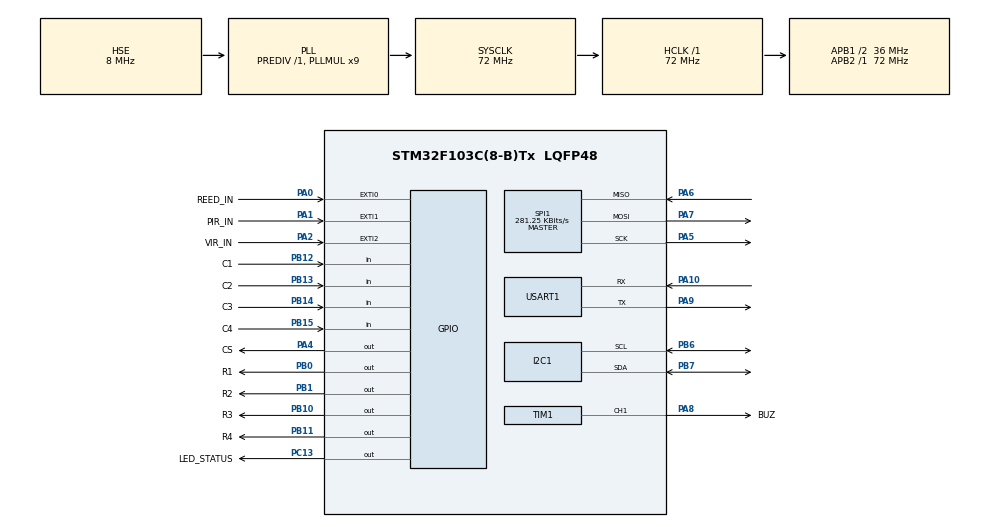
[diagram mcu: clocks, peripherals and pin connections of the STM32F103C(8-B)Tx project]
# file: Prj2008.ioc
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Mcu.Family=STM32F1
Mcu.Name=STM32F103C(8-B)Tx
Mcu.Package=LQFP48
NVIC.EXTI0_IRQn=true\:5\:0\:true\:false\:true\:true\:true\:true
NVIC.EXTI1_IRQn=true\:5\:0\:true\:false\:true\:true\:true\:true
NVIC.EXTI2_IRQn=true\:5\:0\:true\:false\:true\:true\:true\:true
NVIC.PriorityGroup=NVIC_PRIORITYGROUP_4
PA0-WKUP.GPIO_Label=REED_IN
PA0-WKUP.GPIO_PuPd=GPIO_PULLUP
PA0-WKUP.GPIO_ModeDefaultEXTI=GPIO_MODE_IT_RISING_FALLING
PA0-WKUP.Signal=GPXTI0
PA1.GPIO_Label=PIR_IN
PA1.GPIO_ModeDefaultEXTI=GPIO_MODE_IT_RISING
PA1.GPIO_PuPd=GPIO_PULLDOWN
PA1.Signal=GPXTI1
PA10.Mode=Asynchronous
PA10.Signal=USART1_RX
PA13.Mode=Serial_Wire
PA13.Signal=SYS_JTMS-SWDIO
PA14.Mode=Serial_Wire
PA14.Signal=SYS_JTCK-SWCLK
PA2.GPIO_Label=VIR_IN
PA2.GPIO_ModeDefaultEXTI=GPIO_MODE_IT_FALLING
PA2.GPIO_PuPd=GPIO_PULLUP
PA2.Signal=GPXTI2
PA4.GPIO_Label=CS
PA4.PinState=GPIO_PIN_SET
PA4.Signal=GPIO_Output
PA5.Mode=Full_Duplex_Master
PA5.Signal=SPI1_SCK
PA6.Mode=Full_Duplex_Master
PA6.Signal=SPI1_MISO
PA7.Mode=Full_Duplex_Master
PA7.Signal=SPI1_MOSI
PA8.GPIO_Label=BUZ
PA8.Signal=S_TIM1_CH1
PA9.Mode=Asynchronous
PA9.Signal=USART1_TX
PB0.GPIO_Label=R1
PB0.Signal=GPIO_Output
PB1.GPIO_Label=R2
PB1.Signal=GPIO_Output
PB10.GPIO_Label=R3
PB10.Signal=GPIO_Output
PB11.GPIO_Label=R4
PB11.Signal=GPIO_Output
PB12.GPIO_Label=C1
PB12.GPIO_PuPd=GPIO_PULLUP
PB12.Signal=GPIO_Input
PB13.GPIO_Label=C2
PB13.GPIO_PuPd=GPIO_PULLUP
PB13.Signal=GPIO_Input
PB14.GPIO_Label=C3
PB14.GPIO_PuPd=GPIO_PULLUP
PB14.Signal=GPIO_Input
PB15.GPIO_Label=C4
PB15.GPIO_PuPd=GPIO_PULLUP
PB15.Signal=GPIO_Input
PB6.Mode=I2C
PB6.Signal=I2C1_SCL
PB7.Mode=I2C
PB7.Signal=I2C1_SDA
PC13-TAMPER-RTC.GPIO_Label=LED_STATUS
PC13-TAMPER-RTC.GPIO_OutputLevel=GPIO_PIN_SET
PC13-TAMPER-RTC.Signal=GPIO_Output
PD0-OSC_IN.Mode=HSE-External-Oscillator
PD0-OSC_IN.Signal=RCC_OSC_IN
PD1-OSC_OUT.Mode=HSE-External-Oscillator
PD1-OSC_OUT.Signal=RCC_OSC_OUT
ProjectManager.HeapSize=0x200
ProjectManager.StackSize=0x400
ProjectManager.TargetToolchain=CMake
RCC.AHBFreq_Value=72000000
RCC.APB1CLKDivider=RCC_HCLK_DIV2
RCC.APB1Freq_Value=36000000
RCC.APB1TimFreq_Value=72000000
RCC.APB2Freq_Value=72000000
RCC.APB2TimFreq_Value=72000000
RCC.HCLKFreq_Value=72000000
RCC.PLLMUL=RCC_PLL_MUL9
RCC.PLLSourceVirtual=RCC_PLLSOURCE_HSE
RCC.SYSCLKFreq_VALUE=72000000
RCC.SYSCLKSource=RCC_SYSCLKSOURCE_PLLCLK
RCC.USBFreq_Value=72000000
SH.S_TIM1_CH1.0=TIM1_CH1,PWM Generation1 CH1
SPI1.BaudRatePrescaler=SPI_BAUDRATEPRESCALER_256
SPI1.CalculateBaudRate=281.25 KBits/s
SPI1.Direction=SPI_DIRECTION_2LINES
SPI1.Mode=SPI_MODE_MASTER
SPI1.VirtualType=VM_MASTER
TIM1.Channel-PWM\ Generation1\ CH1=TIM_CHANNEL_1
TIM1.Period=499
TIM1.Prescaler=71
TIM1.Pulse-PWM\ Generation1\ CH1=249
USART1.VirtualMode=VM_ASYNC
VP_FATFS_VS_Generic.Mode=User_defined
VP_TIM1_VS_ClockSourceINT.Mode=Internal
board=custom

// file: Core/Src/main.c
/* USER CODE BEGIN Header */
/**
  ******************************************************************************
  * @file           : main.c
  * @brief          : Main program body
  ******************************************************************************
  * @attention
  *
  * Copyright (c) 2026 STMicroelectronics.
  * All rights reserved.
  *
  * This software is licensed under terms that can be found in the LICENSE file
  * in the root directory of this software component.
  * If no LICENSE file comes with this software, it is provided AS-IS.
  *
  ******************************************************************************
  */
/* USER CODE END Header */
#include "main.h"
#include "fatfs.h"
#include "i2c.h"
#include "spi.h"
#include "tim.h"
#include "usart.h"
#include "gpio.h"

/* USER CODE BEGIN Includes */
#include "ssd1306.h"
#include "fonts.h"
#include "keypad.h"
#include "sensors.h"
#include "fsm.h"
#include "sd_spi.h"
#include "sd_logger.h"
#include "time_utils.h"
#include <stdio.h>
#include <string.h>
/* USER CODE END Includes */

/* USER CODE BEGIN PD */
#define PIR_WARMUP_MS         30000   /* Thời gian khởi động cảm biến PIR (30 giây) */
#define REED_DEBOUNCE_MS      50      /* Xác nhận mức cửa Hall KY-003; tên REED giữ tương thích */
#define PIR_STABLE_MS         1400U    /* Mức OUT phải ổn định trước khi chấp nhận */
#define PIR_BLOCKING_MS       1000U   /* Giữ ON phần mềm sau LOW đã lọc; không đo khóa phần cứng */
#define PIR_REPORT_MS         1000U   /* Chu kỳ báo trạng thái PIR qua UART */
/* USER CODE END PD */

/* USER CODE BEGIN PV */
/* Retarget printf qua UART1 */
#ifdef __GNUC__
int __io_putchar(int ch)
#else
int fputc(int ch, FILE *f)
#endif
{
  /* TX at 115200 baud normally completes in <1 ms. A finite timeout prevents
     a UART peripheral fault from freezing sensing and the watchdog feed. */
  (void)HAL_UART_Transmit(&huart1, (uint8_t *)&ch, 1, 2U);
  return ch;
}

/* Biến cảm biến Rung SW-420 (đã chuyển logic sang sensors.c) */
uint32_t last_vib_window_tick = 0;
uint32_t vib_alert_clear_tick = 0;

/* EXTI chỉ đánh dấu cạnh; main xác nhận mức ổn định sau thời gian debounce. */
uint8_t reed_triggered = 0;
static volatile uint8_t reed_debounce_pending = 0;
static volatile uint32_t reed_edge_tick = 0;
uint8_t was_reed_triggered = 0; /* Lưu trạng thái cửa ở chu kỳ trước */

/* HC-SR501: polling OUT, lọc hai mức và giữ ON bằng tick, không chờ tại đây.
   Module thực tế dùng jumper H, nguồn ngoài 3.3 V vào VCC; xem README.
   Các tác vụ I/O khác trong main vẫn có thể làm gián đoạn việc lấy mẫu. */
uint8_t pir_triggered = 0;
uint8_t was_pir_triggered = 0;
static uint8_t pir_ready = 0;
static GPIO_PinState pir_stable_level = GPIO_PIN_RESET;
static GPIO_PinState pir_candidate_level = GPIO_PIN_RESET;
static uint32_t pir_candidate_tick = 0;
static uint8_t pir_blocking = 0;
static uint32_t pir_blocking_tick = 0;
static uint32_t pir_report_tick = 0;

/* Trạng thái phím vừa bấm */
char last_key = '-';
static uint8_t sd_sector_buffer[SD_SPI_BLOCK_SIZE];

/* IWDG: LSI nominal 40 kHz / 256, maximum 12-bit reload ~= 26.2 seconds.
   Actual timeout follows the tolerance of the internal LSI oscillator. */
static void Watchdog_Init(void)
{
  IWDG->KR = 0x5555U;
  IWDG->PR = 0x06U;
  IWDG->RLR = 4095U;
  IWDG->KR = 0xAAAAU;
  IWDG->KR = 0xCCCCU;
}

static inline void Watchdog_Refresh(void)
{
  IWDG->KR = 0xAAAAU;
}

static const char *ResetCause_GetAndClear(void)
{
  const char *cause;

  /* Several flags may coexist (PINRST is commonly also set on power-up), so
     choose the most diagnostic cause first. */
  if (__HAL_RCC_GET_FLAG(RCC_FLAG_IWDGRST))
    cause = "IWDG_TIMEOUT";
  else if (__HAL_RCC_GET_FLAG(RCC_FLAG_WWDGRST))
    cause = "WWDG_TIMEOUT";
  else if (__HAL_RCC_GET_FLAG(RCC_FLAG_SFTRST))
    cause = "SOFTWARE_RESET";
  else if (__HAL_RCC_GET_FLAG(RCC_FLAG_LPWRRST))
    cause = "LOW_POWER_RESET";
  else if (__HAL_RCC_GET_FLAG(RCC_FLAG_PORRST))
    cause = "POWER_ON_RESET";
  else if (__HAL_RCC_GET_FLAG(RCC_FLAG_PINRST))
    cause = "RESET_PIN";
  else
    cause = "UNKNOWN_RESET";

  __HAL_RCC_CLEAR_RESET_FLAGS();
  return cause;
}
/* USER CODE END PV */

void SystemClock_Config(void);

/* USER CODE BEGIN 0 */
/**
  * @brief  EXTI callbacks for SW-420 and Hall KY-003; PIR is polled in main.
  */
void HAL_GPIO_EXTI_Callback(uint16_t GPIO_Pin)
{
  uint32_t now = HAL_GetTick();

  /* 1. Cảm biến Rung SW-420: Chuyển logic đếm vào module sensors */
  if (GPIO_Pin == VIR_IN_Pin)
  {
    Sensors_Vib_EXTI_Callback();
  }
  /* 2. Hall KY-003: ghi nhận cạnh để xác nhận mức cửa sau 50ms.
     REED_IN và reed_* là tên lịch sử, không còn chỉ tiếp điểm reed. */
  else if (GPIO_Pin == REED_IN_Pin)
  {
    reed_edge_tick = now;
    reed_debounce_pending = 1U;
  }
  /* PIR được lấy mẫu hai mức trong main để lọc cả cạnh lên và cạnh xuống. */
}

static void Reed_ProcessDebounce(uint32_t now)
{
  uint8_t stable_state;
  uint8_t update = 0U;
  uint32_t primask = __get_PRIMASK();

  __disable_irq();
  if (reed_debounce_pending &&
      Time_HasElapsed(now, reed_edge_tick, REED_DEBOUNCE_MS))
  {
    stable_state = (HAL_GPIO_ReadPin(REED_IN_GPIO_Port, REED_IN_Pin) == GPIO_PIN_SET) ? 1U : 0U;
    reed_debounce_pending = 0U;
    update = 1U;
  }
  __set_PRIMASK(primask);

  if (update) reed_triggered = stable_state;
}

static void PIR_Process(uint32_t now)
{
  GPIO_PinState raw = HAL_GPIO_ReadPin(PIR_IN_GPIO_Port, PIR_IN_Pin);

  if (!pir_ready)
  {
    if (Time_HasElapsed(now, 0U, PIR_WARMUP_MS))
    {
      pir_ready = 1U;
      pir_stable_level = GPIO_PIN_RESET;
      pir_candidate_level = raw;
      pir_candidate_tick = now;
      pir_report_tick = now;
      printf("[SENSOR] PIR: Warm-up Complete (30s). Motion monitoring ACTIVE!\r\n");
    }
  }
  else
  {
    if (raw != pir_candidate_level)
    {
      pir_candidate_level = raw;
      pir_candidate_tick = now;
    }

    if ((pir_candidate_level != pir_stable_level) &&
        Time_HasElapsed(now, pir_candidate_tick, PIR_STABLE_MS))
    {
      pir_stable_level = pir_candidate_level;
      if (pir_stable_level == GPIO_PIN_SET)
      {
        pir_blocking = 0U;
        pir_triggered = 1U;
      }
      else if (pir_triggered)
      {
        pir_blocking = 1U;
        pir_blocking_tick = now;
      }
    }

    if (pir_blocking)
    {
      if (pir_stable_level == GPIO_PIN_SET)
      {
        pir_blocking = 0U;
      }
      else if (Time_HasElapsed(now, pir_blocking_tick, PIR_BLOCKING_MS))
      {
        pir_blocking = 0U;
        pir_triggered = 0U;
      }
    }
  }

  if (pir_triggered && !was_pir_triggered)
    printf("[SENSOR] PIR: Motion DETECTED!\r\n");
  else if (!pir_triggered && was_pir_triggered)
    printf("[SENSOR] PIR: Motion Ended (Quiet).\r\n");
  was_pir_triggered = pir_triggered;

  if (pir_ready && Time_HasElapsed(now, pir_report_tick, PIR_REPORT_MS))
  {
    pir_report_tick = now;
    printf("[PIR] raw=%s filtered=%s phase=%s\r\n",
           (raw == GPIO_PIN_SET) ? "HIGH" : "LOW",
           pir_triggered ? "ON" : "OFF",
           pir_blocking ? "BLOCKING" : (pir_triggered ? "ACTIVE" : "READY"));
  }
}
/* USER CODE END 0 */

int main(void)
{

  /* MCU Configuration--------------------------------------------------------*/

  /* Reset of all peripherals, Initializes the Flash interface and the Systick. */
  HAL_Init();

  /* Configure the system clock */
  SystemClock_Config();

  /* USER CODE BEGIN SysInit */
  const char *reset_cause = ResetCause_GetAndClear();
  /* USER CODE END SysInit */

  /* Initialize all configured peripherals */
  MX_GPIO_Init();
  MX_I2C1_Init();
  MX_SPI1_Init();
  MX_TIM1_Init();
  MX_USART1_UART_Init();
  MX_FATFS_Init();
  /* USER CODE BEGIN 2 */
  /* Đăng ký FatFs; việc truy cập vật lý được hoãn đến lúc mount chủ động. */
  f_mount(&USERFatFS, USERPath, 0);

  /* Khởi tạo bàn phím ma trận Keypad 4x4 */
  Keypad_Init();

  /* Đọc trạng thái ban đầu của cửa Hall KY-003 khi vừa cấp nguồn. */
  reed_triggered = (HAL_GPIO_ReadPin(REED_IN_GPIO_Port, REED_IN_Pin) == GPIO_PIN_SET) ? 1 : 0;
  was_reed_triggered = reed_triggered;

  /* Show the original project splash immediately after reset, before SD card
     discovery can delay startup. Coordinates are corrected for 7x10 glyphs:
     the 18-character bottom row is 126 px wide and must start at x=1. */
  uint8_t oled_ready = SSD1306_Init(&hi2c1);
  uint32_t oled_splash_tick = HAL_GetTick();
  if (oled_ready)
  {
    SSD1306_Fill(SSD1306_COLOR_BLACK);
    SSD1306_GotoXY(11U, 8U);
    SSD1306_Puts("INTRUSION ALARM", &Font_7x10, SSD1306_COLOR_WHITE);
    SSD1306_GotoXY(22U, 26U);
    SSD1306_Puts("SYSTEM READY", &Font_7x10, SSD1306_COLOR_WHITE);
    SSD1306_GotoXY(1U, 44U);
    SSD1306_Puts("7-STATE FSM ACTIVE", &Font_7x10, SSD1306_COLOR_WHITE);
    SSD1306_UpdateScreen();
    oled_splash_tick = HAL_GetTick();
  }

  /* Protect SD discovery and all subsequent runtime work. */
  Watchdog_Init();

  /* Log khởi động qua UART1 */
  printf("\r\n========================================\r\n");
  printf("  INTRUSION ALARM SYSTEM - STM32F103\r\n");
  printf("  Firmware Ver 2.3 (7-State Dual-PIN + Durable Log)\r\n");
  printf("  PIR Warm-up Time: %d seconds...\r\n", PIR_WARMUP_MS / 1000);
  printf("========================================\r\n");

  /* Initialize the card and read sector 0 without modifying it. */
  bool sd_storage_ready = false;
  Watchdog_Refresh();
  SD_SPI_Result_t sd_result = SD_SPI_InitCard();
  printf("[SD] Init: %s (R1=0x%02X)\r\n",
         SD_SPI_ResultString(sd_result), SD_SPI_GetCardInfo()->last_r1);
  printf("[SD] SPI RX bytes: FF=%lu, 00=%lu, other=%lu\r\n",
         SD_SPI_GetBusStats()->ff_bytes,
         SD_SPI_GetBusStats()->zero_bytes,
         SD_SPI_GetBusStats()->other_bytes);
  if (sd_result == SD_SPI_NO_RESPONSE &&
      SD_SPI_GetBusStats()->ff_bytes != 0U &&
      SD_SPI_GetBusStats()->zero_bytes == 0U &&
      SD_SPI_GetBusStats()->other_bytes == 0U)
  {
    printf("[SD] DIAG: MISO stayed HIGH; check PA6/module DO, 5V input and 3.3V regulator output.\r\n");
  }
  if (sd_result == SD_SPI_OK)
  {
    printf("[SD] Type: %s, OCR=0x%08lX\r\n",
           SD_SPI_CardTypeString(SD_SPI_GetCardInfo()->type),
           SD_SPI_GetCardInfo()->ocr);
    Watchdog_Refresh();
    sd_result = SD_SPI_ReadBlock(0U, sd_sector_buffer);
    printf("[SD] Read sector 0: %s\r\n", SD_SPI_ResultString(sd_result));
    if (sd_result == SD_SPI_OK)
    {
      printf("[SD] First bytes: %02X %02X %02X %02X, signature: %02X %02X\r\n",
             sd_sector_buffer[0], sd_sector_buffer[1],
             sd_sector_buffer[2], sd_sector_buffer[3],
             sd_sector_buffer[510], sd_sector_buffer[511]);
    }

    Watchdog_Refresh();
    FRESULT mount_result = f_mount(&USERFatFS, USERPath, 1);
    sd_storage_ready = (mount_result == FR_OK);
    printf("[FATFS] Mount: %s (FR=%u)\r\n",
           (mount_result == FR_OK) ? "OK" : "FAILED",
           (unsigned int)mount_result);
    if (mount_result == FR_OK)
    {
      DWORD free_clusters;
      FATFS *mounted_fs;
      Watchdog_Refresh();
      FRESULT free_result = f_getfree(USERPath, &free_clusters, &mounted_fs);
      if (free_result == FR_OK)
      {
        uint32_t total_kib = (uint32_t)((mounted_fs->n_fatent - 2U) *
                             mounted_fs->csize / 2U);
        uint32_t free_kib = (uint32_t)(free_clusters * mounted_fs->csize / 2U);
        printf("[FATFS] Capacity: %lu KiB, free: %lu KiB\r\n",
               total_kib, free_kib);
      }
      else
      {
        printf("[FATFS] Space query failed (FR=%u)\r\n",
               (unsigned int)free_result);
      }
    }
  }

  SD_Logger_Init(sd_storage_ready);
  SD_Logger_BeginSession(reset_cause);
  (void)SD_Logger_Enqueue(sd_storage_ready
                          ? "SD_INIT status=ONLINE"
                          : "SD_INIT status=OFFLINE recovery=pending");

  /* OLED was initialized before SD probing so the reset splash is immediate. */
  printf("[OLED] SH1106 1.3in address 0x78: %s\r\n",
         oled_ready ? "OK" : "NOT FOUND");
  /* Keep the splash visible for at least one second on fast/no-card boots. */
  uint32_t splash_elapsed = HAL_GetTick() - oled_splash_tick;
  if (oled_ready && splash_elapsed < 1000U)
    HAL_Delay(1000U - splash_elapsed);

  /* Sample Hall again after SD discovery/splash for the boot log only.
     Preserve the existing debounced door state and pending EXTI events. */
  bool boot_door_open =
      HAL_GPIO_ReadPin(REED_IN_GPIO_Port, REED_IN_Pin) == GPIO_PIN_SET;
  FSM_Init(boot_door_open);

  Watchdog_Refresh();
  /* USER CODE END 2 */

  /* Infinite loop */
  /* USER CODE BEGIN WHILE */
  while (1)
  {
    uint32_t now = HAL_GetTick();

    /* --- TÁC VỤ 1: Quét phím Keypad 4x4 (Non-blocking) --- */
    char key = Keypad_GetKey();
    if (key != KEYPAD_NO_KEY)
    {
      last_key = key;
      printf("[KEYPAD] Pressed: %c\r\n", key);

      /* FSM overlays a 40ms key beep without blocking sensor processing. */
      Buzzer_RequestKeyBeep();
    }

    /* --- TÁC VỤ 2: Khử rung Cảm biến Từ Cửa (KY-003) --- */
    Reed_ProcessDebounce(now);
    if (reed_triggered == 0 && was_reed_triggered == 1)
    {
      /* Cửa vừa đóng: Reset rung do sập cửa và kích hoạt giám sát */
      Vibration_Reset();
      printf("[SENSOR] KY-003: Door CLOSED. Vibration monitoring active.\r\n");
    }
    else if (reed_triggered == 1 && was_reed_triggered == 0)
    {
      printf("[SENSOR] KY-003: Door OPEN!\r\n");
    }
    was_reed_triggered = reed_triggered;

    /* --- TÁC VỤ 3: Xử lý Cảm biến Thân nhiệt PIR (HC-SR501) --- */
    PIR_Process(now);

    /* --- TÁC VỤ 4: Đánh giá cửa sổ phân loại rung SW-420 mỗi 1.0 giây --- */
    if (Time_HasElapsed(now, last_vib_window_tick, VIB_WINDOW_MS))
    {
      last_vib_window_tick = now;
      /* Chỉ phân tích rung khi CỬA ĐANG ĐÓNG (reed_triggered == 0) */
      Sensors_Process_Window(reed_triggered == 0);
    }

    /* --- TÁC VỤ 5: ĐIỀU PHỐI MÁY TRẠNG THÁI FSM 7 TRẠNG THÁI --- */
    /* FSM sẽ tự động quản lý còi Buzzer, LED Heartbeat/Siren, OLED UI và chuyển trạng thái */
    bool is_door_open = (reed_triggered == 1);
    bool is_pir_active = (pir_ready && pir_triggered == 1);
    VibLevel_t current_vib = Vibration_GetLevel();

    FSM_Process(key, is_door_open, pir_ready == 1U, is_pir_active, current_vib);
    SystemState_t logger_state = FSM_GetState();
    /* Khi thẻ đang online, ghi tối đa một record mỗi chu kỳ rate-limit và
       f_sync từng record để sự kiện thực sự tới thẻ. Thử mount lại chỉ trong
       các state ít nhạy thời gian, tránh lặp thao tác dài lúc báo động. */
    bool logger_recovery_allowed = (logger_state == STATE_DISARM ||
                                    logger_state == STATE_EXIT_DELAY ||
                                    logger_state == STATE_TEMP_DISARM);
    SD_Logger_Process(true, logger_recovery_allowed);

    Watchdog_Refresh();

    /* USER CODE END WHILE */

  }
}

void SystemClock_Config(void)
{
  RCC_OscInitTypeDef RCC_OscInitStruct = {0};
  RCC_ClkInitTypeDef RCC_ClkInitStruct = {0};

  /** Initializes the RCC Oscillators according to the specified parameters
  * in the RCC_OscInitTypeDef structure.
  */
  RCC_OscInitStruct.OscillatorType = RCC_OSCILLATORTYPE_HSE;
  RCC_OscInitStruct.HSEState = RCC_HSE_ON;
  RCC_OscInitStruct.HSEPredivValue = RCC_HSE_PREDIV_DIV1;
  RCC_OscInitStruct.HSIState = RCC_HSI_ON;
  RCC_OscInitStruct.PLL.PLLState = RCC_PLL_ON;
  RCC_OscInitStruct.PLL.PLLSource = RCC_PLLSOURCE_HSE;
  RCC_OscInitStruct.PLL.PLLMUL = RCC_PLL_MUL9;
  if (HAL_RCC_OscConfig(&RCC_OscInitStruct) != HAL_OK)
  {
    Error_Handler();
  }

  /** Initializes the CPU, AHB and APB buses clocks
  */
  RCC_ClkInitStruct.ClockType = RCC_CLOCKTYPE_HCLK|RCC_CLOCKTYPE_SYSCLK
                              |RCC_CLOCKTYPE_PCLK1|RCC_CLOCKTYPE_PCLK2;
  RCC_ClkInitStruct.SYSCLKSource = RCC_SYSCLKSOURCE_PLLCLK;
  RCC_ClkInitStruct.AHBCLKDivider = RCC_SYSCLK_DIV1;
  RCC_ClkInitStruct.APB1CLKDivider = RCC_HCLK_DIV2;
  RCC_ClkInitStruct.APB2CLKDivider = RCC_HCLK_DIV1;

  if (HAL_RCC_ClockConfig(&RCC_ClkInitStruct, FLASH_LATENCY_2) != HAL_OK)
  {
    Error_Handler();
  }
}

void Error_Handler(void)
{
  __disable_irq();
  while (1)
  {
  }
}
